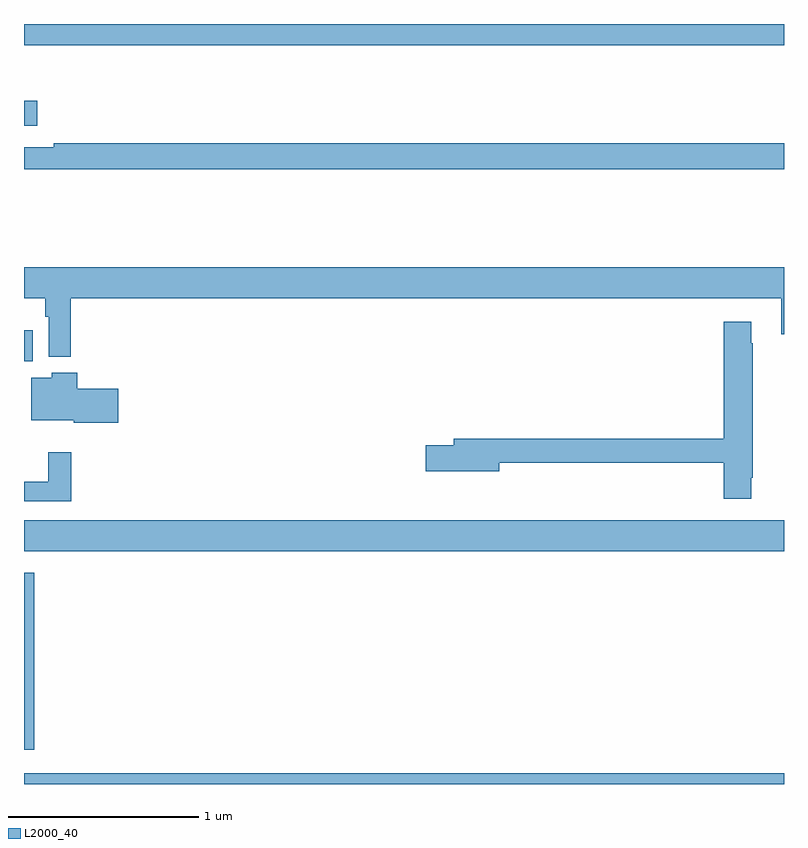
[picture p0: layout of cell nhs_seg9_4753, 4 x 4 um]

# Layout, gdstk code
import gdstk
lib = gdstk.Library(unit=1e-6, precision=1e-09)
def R(c, l, rs):  # rectangles x0, y0, x1, y1
    for r in rs: c.add(gdstk.rectangle(r[:2], r[2:], *l))
def P(c, l, *ps):  # polygons
    for p in ps: c.add(gdstk.Polygon(p, *l))
L2000_40 = (2000, 40)

nhs_seg9_4753 = lib.new_cell('nhs_seg9_4753')
R(nhs_seg9_4753, L2000_40, [(385,1224.5,389,1224.556), (385,1224.681,385.055,1225.612), (385,1225.724,389,1225.888), (385,1226.726,385.046,1226.887), (385,1227.965,385.069,1228.095), (385,1228.388,389,1228.5)])
P(nhs_seg9_4753, L2000_40, [(389,1227.872),(385.156,1227.872),(385.156,1227.852),(385,1227.852),(385,1227.736),(389,1227.736)],
  [(385.247,1227.056),(388.985,1227.056),(388.985,1226.868),(389,1226.868),(389,1227.22),(385,1227.22),(385,1227.056),(385.111,1227.056),(385.111,1226.96),(385.131,1226.96),(385.131,1226.75),(385.247,1226.75)],
  [(388.828,1226.113),(388.836,1226.113),(388.836,1226.819),(388.828,1226.819),(388.828,1226.932),(388.682,1226.932),(388.682,1226.318),(387.263,1226.318),(387.263,1226.282),(387.114,1226.282),(387.114,1226.147),(387.502,1226.147),(387.502,1226.19),(388.682,1226.19),(388.682,1226.001),(388.828,1226.001)],
  [(385.495,1226.58),(385.28,1226.58),(385.28,1226.665),(385.146,1226.665),(385.146,1226.638),(385.037,1226.638),(385.037,1226.414),(385.263,1226.414),(385.263,1226.402),(385.495,1226.402)],
  [(385.249,1226.245),(385.127,1226.245),(385.127,1226.092),(385,1226.092),(385,1225.988),(385.249,1225.988)])

lib.write_gds('nhs_seg9_4753.gds')
